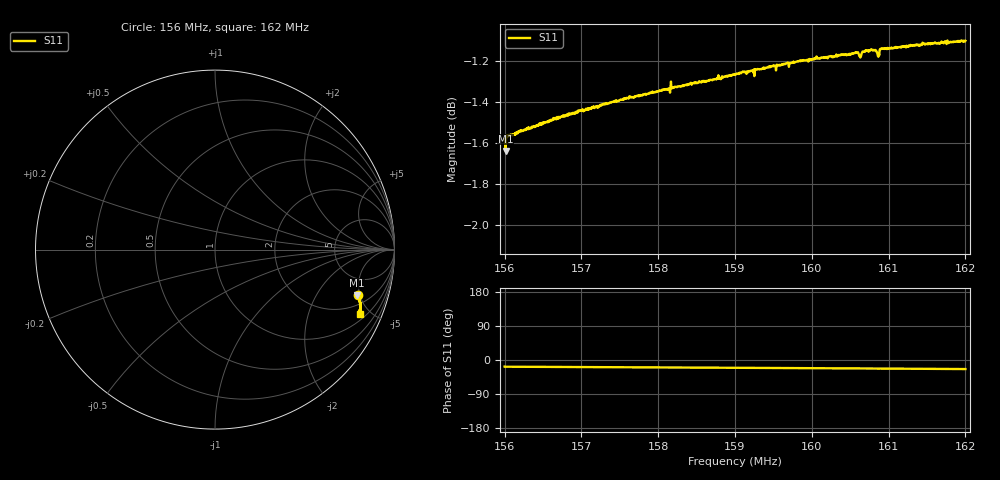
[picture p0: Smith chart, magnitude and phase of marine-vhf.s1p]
! Calibrated averaged scanner-service zoom
# Hz S RI R 50
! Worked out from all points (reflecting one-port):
!   1001 points, 156 MHz to 162 MHz, reference 50 ohm
!   lowest |S11| = -1.6 dB at 156.01 MHz (marker M1), VSWR 10.63, Z = 145 - j233 ohm
!   phase of S11 starts at -17 deg and turns -6 deg over the sweep
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1.56e8  0.7951 -0.2502
1.56012e8  0.7884 -0.253
1.56042e8  0.7954 -0.2546
1.56048e8  0.795 -0.2548
1.56474e8  0.7986 -0.2612
1.5675e8  0.8011 -0.2664
1.56984e8  0.8029 -0.2703
1.5705e8  0.8028 -0.2715
1.575e8  0.8049 -0.2792
1.58124e8  0.807 -0.2891
1.58196e8  0.8074 -0.2903
1.5825e8  0.8074 -0.2914
1.59e8  0.809 -0.3033
1.5975e8  0.8105 -0.3163
1.6005e8  0.8104 -0.3217
1.605e8  0.8097 -0.3296
1.60572e8  0.81 -0.3311
1.60632e8  0.8082 -0.3287
1.60692e8  0.8095 -0.3332
1.60794e8  0.8092 -0.3354
1.60812e8  0.8092 -0.3356
1.60854e8  0.8067 -0.3378
1.60878e8  0.8059 -0.3373
1.60914e8  0.8094 -0.3377
1.6125e8  0.8079 -0.3431
1.61472e8  0.8073 -0.3475
1.6176e8  0.8061 -0.3525
1.62e8  0.8052 -0.3568
